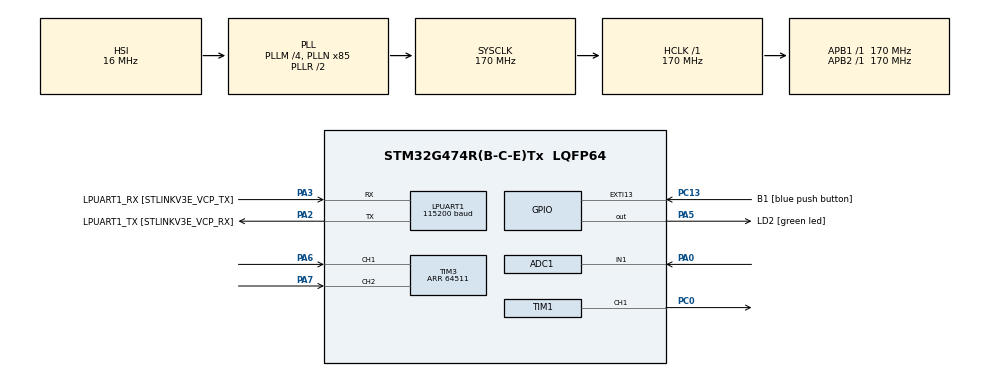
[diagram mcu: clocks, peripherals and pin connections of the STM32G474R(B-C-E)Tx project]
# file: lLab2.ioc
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ADC1.Channel-0\#ChannelRegularConversion=ADC_CHANNEL_1
ADC1.DMAContinuousRequests=ENABLE
ADC1.ExternalTrigConv=ADC_EXTERNALTRIG_T4_TRGO
ADC1.NbrOfConversionFlag=1
ADC1.OffsetNumber-0\#ChannelRegularConversion=ADC_OFFSET_NONE
ADC1.Rank-0\#ChannelRegularConversion=1
ADC1.SamplingTime-0\#ChannelRegularConversion=ADC_SAMPLETIME_2CYCLES_5
ADC1.master=1
ARM.CMSIS-DSP.1.15.0.CMSISJjDSP=Source
ARM.CMSIS.6.0.0.CMSISJjCORE=true
Dma.ADC1.0.Direction=DMA_PERIPH_TO_MEMORY
Dma.ADC1.0.EventEnable=DISABLE
Dma.ADC1.0.Instance=DMA1_Channel1
Dma.ADC1.0.MemDataAlignment=DMA_MDATAALIGN_HALFWORD
Dma.ADC1.0.MemInc=DMA_MINC_ENABLE
Dma.ADC1.0.Mode=DMA_CIRCULAR
Dma.ADC1.0.PeriphDataAlignment=DMA_PDATAALIGN_HALFWORD
Dma.ADC1.0.PeriphInc=DMA_PINC_DISABLE
Dma.ADC1.0.Polarity=HAL_DMAMUX_REQ_GEN_RISING
Dma.ADC1.0.Priority=DMA_PRIORITY_LOW
Dma.ADC1.0.RequestNumber=1
Dma.ADC1.0.SignalID=NONE
Dma.ADC1.0.SyncEnable=DISABLE
Dma.ADC1.0.SyncPolarity=HAL_DMAMUX_SYNC_NO_EVENT
Dma.ADC1.0.SyncRequestNumber=1
Dma.ADC1.0.SyncSignalID=NONE
Dma.Request0=ADC1
LPUART1.BaudRate=115200
LPUART1.WordLength=UART_WORDLENGTH_8B
Mcu.Family=STM32G4
Mcu.Name=STM32G474R(B-C-E)Tx
Mcu.Package=LQFP64
NVIC.ADC1_2_IRQn=true\:0\:0\:false\:false\:true\:true\:true\:true
NVIC.DMA1_Channel1_IRQn=true\:0\:0\:false\:false\:true\:false\:true\:true
NVIC.EXTI15_10_IRQn=true\:0\:0\:false\:false\:true\:true\:true\:true
NVIC.PriorityGroup=NVIC_PRIORITYGROUP_4
NVIC.TIM5_IRQn=true\:0\:0\:false\:false\:true\:true\:true\:true
PA0.Mode=IN1-Single-Ended
PA0.Signal=ADC1_IN1
PA13.GPIO_Label=T_SWDIO
PA13.Mode=Serial_Wire
PA13.Signal=SYS_JTMS-SWDIO
PA14.GPIO_Label=T_SWCLK
PA14.Mode=Serial_Wire
PA14.Signal=SYS_JTCK-SWCLK
PA2.GPIO_Label=LPUART1_TX [STLINKV3E_VCP_RX]
PA2.Mode=Asynchronous
PA2.Signal=LPUART1_TX
PA3.GPIO_Label=LPUART1_RX [STLINKV3E_VCP_TX]
PA3.Mode=Asynchronous
PA3.Signal=LPUART1_RX
PA5.GPIO_Label=LD2 [green led]
PA5.Signal=GPIO_Output
PA6.Signal=S_TIM3_CH1
PA7.Signal=S_TIM3_CH2
PB3.GPIO_Label=T_SWO
PB3.Signal=SYS_JTDO-SWO
PC0.Signal=S_TIM1_CH1
PC13.GPIO_Label=B1 [blue push button]
PC13.Signal=GPXTI13
PC14-OSC32_IN.Mode=LSE-External-Oscillator
PC14-OSC32_IN.Signal=RCC_OSC32_IN
PC15-OSC32_OUT.Mode=LSE-External-Oscillator
PC15-OSC32_OUT.Signal=RCC_OSC32_OUT
PF0-OSC_IN.Mode=HSE-External-Oscillator
PF0-OSC_IN.Signal=RCC_OSC_IN
PF1-OSC_OUT.Mode=HSE-External-Oscillator
PF1-OSC_OUT.Signal=RCC_OSC_OUT
ProjectManager.HeapSize=0x200
ProjectManager.StackSize=0x400
ProjectManager.TargetToolchain=STM32CubeIDE
RCC.ADC12Freq_Value=170000000
RCC.ADC345Freq_Value=170000000
RCC.AHBFreq_Value=170000000
RCC.APB1Freq_Value=170000000
RCC.APB1TimFreq_Value=170000000
RCC.APB2Freq_Value=170000000
RCC.APB2TimFreq_Value=170000000
RCC.CortexFreq_Value=170000000
RCC.EXTERNAL_CLOCK_VALUE=12288000
RCC.HCLKFreq_Value=170000000
RCC.HSE_VALUE=24000000
RCC.HSI48_VALUE=48000000
RCC.HSI_VALUE=16000000
RCC.PLLM=RCC_PLLM_DIV4
RCC.PLLN=85
RCC.RTCClockSelection=RCC_RTCCLKSOURCE_LSE
RCC.SYSCLKFreq_VALUE=170000000
RCC.SYSCLKSource=RCC_SYSCLKSOURCE_PLLCLK
RCC.USBFreq_Value=170000000
RCC.VCOOutputFreq_Value=340000000
SH.S_TIM1_CH1.0=TIM1_CH1,PWM Generation1 CH1
SH.S_TIM3_CH1.0=TIM3_CH1,Encoder_Interface
SH.S_TIM3_CH2.0=TIM3_CH2,Encoder_Interface
TIM1.Channel-PWM\ Generation1\ CH1=TIM_CHANNEL_1
TIM1.PeriodNoDither=199
TIM1.Prescaler=169
TIM1.PulseNoDither_1=3072
TIM3.EncoderMode=TIM_ENCODERMODE_TI12
TIM3.PeriodNoDither=64511
TIM4.PeriodNoDither=99
TIM4.Prescaler=169
TIM4.TIM_MasterOutputTrigger=TIM_TRGO_UPDATE
TIM5.Prescaler=169
VP_ARM.CMSIS-DSP_VS_CMSISJjDSP_1.15.0_1.15.0.Mode=CMSISJjDSP
VP_ARM.CMSIS_VS_CMSISJjCORE_6.0.0_6.0.0.Mode=CMSISJjCORE
VP_SYS_VS_DBSignals.Mode=DisableDeadBatterySignals
VP_TIM1_VS_ClockSourceINT.Mode=Internal
VP_TIM4_VS_ClockSourceINT.Mode=Internal
VP_TIM5_VS_ClockSourceINT.Mode=Internal
board=NUCLEO-G474RE

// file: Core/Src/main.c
/* USER CODE BEGIN Header */
/**
  ******************************************************************************
  * @file           : main.c
  * @brief          : Main program body
  ******************************************************************************
  * @attention
  *
  * Copyright (c) 2025 STMicroelectronics.
  * All rights reserved.
  *
  * This software is licensed under terms that can be found in the LICENSE file
  * in the root directory of this software component.
  * If no LICENSE file comes with this software, it is provided AS-IS.
  *
  ******************************************************************************
  */
/* USER CODE END Header */
#include "main.h"

/* USER CODE BEGIN Includes */
#include "arm_math.h"
/* USER CODE END Includes */

ADC_HandleTypeDef hadc1;
DMA_HandleTypeDef hdma_adc1;

UART_HandleTypeDef hlpuart1;

TIM_HandleTypeDef htim1;
TIM_HandleTypeDef htim3;
TIM_HandleTypeDef htim4;
TIM_HandleTypeDef htim5;

/* USER CODE BEGIN PV */
uint16_t ADCRead[10]={0};
uint16_t ADC;
typedef struct
{
	// for record New / Old value to calculate dx / dt
	uint32_t Position[2];
	uint64_t TimeStamp[2];

	float QEIPostion_1turn;
	float QEIAngularVelocity;
}QEI_StructureTypeDef;
QEI_StructureTypeDef QEIdata = {0};
enum
{
	NEW,OLD
};
uint64_t TimeValue;
uint32_t currentTimerValue;
uint32_t currentOverflowCnt;
uint32_t microsOverflowCnt;
float setpoint = 0;
float position = 0;
arm_pid_instance_f32 PID = {0};
float PWM = 0;
/* USER CODE END PV */

void SystemClock_Config(void);
static void MX_GPIO_Init(void);
static void MX_DMA_Init(void);
static void MX_LPUART1_UART_Init(void);
static void MX_ADC1_Init(void);
static void MX_TIM1_Init(void);
static void MX_TIM3_Init(void);
static void MX_TIM5_Init(void);
static void MX_TIM4_Init(void);
/* USER CODE BEGIN PFP */
uint64_t micros();
void QEIEncoderPosVel_Update();
/* USER CODE END PFP */

int main(void)
{

  /* MCU Configuration--------------------------------------------------------*/

  /* Reset of all peripherals, Initializes the Flash interface and the Systick. */
  HAL_Init();

  /* Configure the system clock */
  SystemClock_Config();

  /* Initialize all configured peripherals */
  MX_GPIO_Init();
  MX_DMA_Init();
  MX_LPUART1_UART_Init();
  MX_ADC1_Init();
  MX_TIM1_Init();
  MX_TIM3_Init();
  MX_TIM5_Init();
  MX_TIM4_Init();
  /* USER CODE BEGIN 2 */
  HAL_ADC_Start_DMA(&hadc1, ADCRead, 10);
  HAL_TIM_Base_Start(&htim4);
  HAL_TIM_Encoder_Start(&htim3,TIM_CHANNEL_ALL);
  HAL_TIM_Base_Start_IT(&htim5);
  HAL_TIM_Base_Start(&htim1);
  HAL_TIM_PWM_Start(&htim1, TIM_CHANNEL_1);

  PID.Kp = 0.1;
  PID.Ki = 0;
  PID.Kd = 5.0;
  arm_pid_init_f32(&PID, 0);
  /* USER CODE END 2 */

  /* Infinite loop */
  while (1)
  {

    /* USER CODE BEGIN 3 */
	  if(HAL_GPIO_ReadPin(B1_GPIO_Port, B1_Pin))
	  {
		  ADC = ADCRead[0];
		  setpoint = (ADC/4095.0)*360.0;
	  }
	  static uint64_t timestamp = 0;
	  int64_t currentTime = micros();
	  if(currentTime > timestamp)
	  {
		  timestamp = currentTime + 1000;
		  QEIEncoderPosVel_Update();
		  position = (QEIdata.QEIPostion_1turn/3072.0)*360.0;
		  PWM = arm_pid_f32(&PID, setpoint - position);
		  __HAL_TIM_SET_COMPARE(&htim1, TIM_CHANNEL_1, PWM*100);
	  }
  }
  /* USER CODE END 3 */
}

void SystemClock_Config(void)
{
  RCC_OscInitTypeDef RCC_OscInitStruct = {0};
  RCC_ClkInitTypeDef RCC_ClkInitStruct = {0};

  /** Configure the main internal regulator output voltage
  */
  HAL_PWREx_ControlVoltageScaling(PWR_REGULATOR_VOLTAGE_SCALE1_BOOST);

  /** Initializes the RCC Oscillators according to the specified parameters
  * in the RCC_OscInitTypeDef structure.
  */
  RCC_OscInitStruct.OscillatorType = RCC_OSCILLATORTYPE_HSI;
  RCC_OscInitStruct.HSIState = RCC_HSI_ON;
  RCC_OscInitStruct.HSICalibrationValue = RCC_HSICALIBRATION_DEFAULT;
  RCC_OscInitStruct.PLL.PLLState = RCC_PLL_ON;
  RCC_OscInitStruct.PLL.PLLSource = RCC_PLLSOURCE_HSI;
  RCC_OscInitStruct.PLL.PLLM = RCC_PLLM_DIV4;
  RCC_OscInitStruct.PLL.PLLN = 85;
  RCC_OscInitStruct.PLL.PLLP = RCC_PLLP_DIV2;
  RCC_OscInitStruct.PLL.PLLQ = RCC_PLLQ_DIV2;
  RCC_OscInitStruct.PLL.PLLR = RCC_PLLR_DIV2;
  if (HAL_RCC_OscConfig(&RCC_OscInitStruct) != HAL_OK)
  {
    Error_Handler();
  }

  /** Initializes the CPU, AHB and APB buses clocks
  */
  RCC_ClkInitStruct.ClockType = RCC_CLOCKTYPE_HCLK|RCC_CLOCKTYPE_SYSCLK
                              |RCC_CLOCKTYPE_PCLK1|RCC_CLOCKTYPE_PCLK2;
  RCC_ClkInitStruct.SYSCLKSource = RCC_SYSCLKSOURCE_PLLCLK;
  RCC_ClkInitStruct.AHBCLKDivider = RCC_SYSCLK_DIV1;
  RCC_ClkInitStruct.APB1CLKDivider = RCC_HCLK_DIV1;
  RCC_ClkInitStruct.APB2CLKDivider = RCC_HCLK_DIV1;

  if (HAL_RCC_ClockConfig(&RCC_ClkInitStruct, FLASH_LATENCY_4) != HAL_OK)
  {
    Error_Handler();
  }
}

static void MX_ADC1_Init(void)
{

  ADC_MultiModeTypeDef multimode = {0};
  ADC_ChannelConfTypeDef sConfig = {0};

  /** Common config
  */
  hadc1.Instance = ADC1;
  hadc1.Init.ClockPrescaler = ADC_CLOCK_SYNC_PCLK_DIV4;
  hadc1.Init.Resolution = ADC_RESOLUTION_12B;
  hadc1.Init.DataAlign = ADC_DATAALIGN_RIGHT;
  hadc1.Init.GainCompensation = 0;
  hadc1.Init.ScanConvMode = ADC_SCAN_DISABLE;
  hadc1.Init.EOCSelection = ADC_EOC_SINGLE_CONV;
  hadc1.Init.LowPowerAutoWait = DISABLE;
  hadc1.Init.ContinuousConvMode = DISABLE;
  hadc1.Init.NbrOfConversion = 1;
  hadc1.Init.DiscontinuousConvMode = DISABLE;
  hadc1.Init.ExternalTrigConv = ADC_EXTERNALTRIG_T4_TRGO;
  hadc1.Init.ExternalTrigConvEdge = ADC_EXTERNALTRIGCONVEDGE_RISING;
  hadc1.Init.DMAContinuousRequests = ENABLE;
  hadc1.Init.Overrun = ADC_OVR_DATA_PRESERVED;
  hadc1.Init.OversamplingMode = DISABLE;
  if (HAL_ADC_Init(&hadc1) != HAL_OK)
  {
    Error_Handler();
  }

  /** Configure the ADC multi-mode
  */
  multimode.Mode = ADC_MODE_INDEPENDENT;
  if (HAL_ADCEx_MultiModeConfigChannel(&hadc1, &multimode) != HAL_OK)
  {
    Error_Handler();
  }

  /** Configure Regular Channel
  */
  sConfig.Channel = ADC_CHANNEL_1;
  sConfig.Rank = ADC_REGULAR_RANK_1;
  sConfig.SamplingTime = ADC_SAMPLETIME_2CYCLES_5;
  sConfig.SingleDiff = ADC_SINGLE_ENDED;
  sConfig.OffsetNumber = ADC_OFFSET_NONE;
  sConfig.Offset = 0;
  if (HAL_ADC_ConfigChannel(&hadc1, &sConfig) != HAL_OK)
  {
    Error_Handler();
  }

}

static void MX_LPUART1_UART_Init(void)
{

  hlpuart1.Instance = LPUART1;
  hlpuart1.Init.BaudRate = 115200;
  hlpuart1.Init.WordLength = UART_WORDLENGTH_8B;
  hlpuart1.Init.StopBits = UART_STOPBITS_1;
  hlpuart1.Init.Parity = UART_PARITY_NONE;
  hlpuart1.Init.Mode = UART_MODE_TX_RX;
  hlpuart1.Init.HwFlowCtl = UART_HWCONTROL_NONE;
  hlpuart1.Init.OneBitSampling = UART_ONE_BIT_SAMPLE_DISABLE;
  hlpuart1.Init.ClockPrescaler = UART_PRESCALER_DIV1;
  hlpuart1.AdvancedInit.AdvFeatureInit = UART_ADVFEATURE_NO_INIT;
  if (HAL_UART_Init(&hlpuart1) != HAL_OK)
  {
    Error_Handler();
  }
  if (HAL_UARTEx_SetTxFifoThreshold(&hlpuart1, UART_TXFIFO_THRESHOLD_1_8) != HAL_OK)
  {
    Error_Handler();
  }
  if (HAL_UARTEx_SetRxFifoThreshold(&hlpuart1, UART_RXFIFO_THRESHOLD_1_8) != HAL_OK)
  {
    Error_Handler();
  }
  if (HAL_UARTEx_DisableFifoMode(&hlpuart1) != HAL_OK)
  {
    Error_Handler();
  }

}

static void MX_TIM1_Init(void)
{

  TIM_ClockConfigTypeDef sClockSourceConfig = {0};
  TIM_MasterConfigTypeDef sMasterConfig = {0};
  TIM_OC_InitTypeDef sConfigOC = {0};
  TIM_BreakDeadTimeConfigTypeDef sBreakDeadTimeConfig = {0};

  htim1.Instance = TIM1;
  htim1.Init.Prescaler = 169;
  htim1.Init.CounterMode = TIM_COUNTERMODE_UP;
  htim1.Init.Period = 199;
  htim1.Init.ClockDivision = TIM_CLOCKDIVISION_DIV1;
  htim1.Init.RepetitionCounter = 0;
  htim1.Init.AutoReloadPreload = TIM_AUTORELOAD_PRELOAD_DISABLE;
  if (HAL_TIM_Base_Init(&htim1) != HAL_OK)
  {
    Error_Handler();
  }
  sClockSourceConfig.ClockSource = TIM_CLOCKSOURCE_INTERNAL;
  if (HAL_TIM_ConfigClockSource(&htim1, &sClockSourceConfig) != HAL_OK)
  {
    Error_Handler();
  }
  if (HAL_TIM_PWM_Init(&htim1) != HAL_OK)
  {
    Error_Handler();
  }
  sMasterConfig.MasterOutputTrigger = TIM_TRGO_RESET;
  sMasterConfig.MasterOutputTrigger2 = TIM_TRGO2_RESET;
  sMasterConfig.MasterSlaveMode = TIM_MASTERSLAVEMODE_DISABLE;
  if (HAL_TIMEx_MasterConfigSynchronization(&htim1, &sMasterConfig) != HAL_OK)
  {
    Error_Handler();
  }
  sConfigOC.OCMode = TIM_OCMODE_PWM1;
  sConfigOC.Pulse = 3072;
  sConfigOC.OCPolarity = TIM_OCPOLARITY_HIGH;
  sConfigOC.OCNPolarity = TIM_OCNPOLARITY_HIGH;
  sConfigOC.OCFastMode = TIM_OCFAST_DISABLE;
  sConfigOC.OCIdleState = TIM_OCIDLESTATE_RESET;
  sConfigOC.OCNIdleState = TIM_OCNIDLESTATE_RESET;
  if (HAL_TIM_PWM_ConfigChannel(&htim1, &sConfigOC, TIM_CHANNEL_1) != HAL_OK)
  {
    Error_Handler();
  }
  sBreakDeadTimeConfig.OffStateRunMode = TIM_OSSR_DISABLE;
  sBreakDeadTimeConfig.OffStateIDLEMode = TIM_OSSI_DISABLE;
  sBreakDeadTimeConfig.LockLevel = TIM_LOCKLEVEL_OFF;
  sBreakDeadTimeConfig.DeadTime = 0;
  sBreakDeadTimeConfig.BreakState = TIM_BREAK_DISABLE;
  sBreakDeadTimeConfig.BreakPolarity = TIM_BREAKPOLARITY_HIGH;
  sBreakDeadTimeConfig.BreakFilter = 0;
  sBreakDeadTimeConfig.BreakAFMode = TIM_BREAK_AFMODE_INPUT;
  sBreakDeadTimeConfig.Break2State = TIM_BREAK2_DISABLE;
  sBreakDeadTimeConfig.Break2Polarity = TIM_BREAK2POLARITY_HIGH;
  sBreakDeadTimeConfig.Break2Filter = 0;
  sBreakDeadTimeConfig.Break2AFMode = TIM_BREAK_AFMODE_INPUT;
  sBreakDeadTimeConfig.AutomaticOutput = TIM_AUTOMATICOUTPUT_DISABLE;
  if (HAL_TIMEx_ConfigBreakDeadTime(&htim1, &sBreakDeadTimeConfig) != HAL_OK)
  {
    Error_Handler();
  }
  HAL_TIM_MspPostInit(&htim1);

}

static void MX_TIM3_Init(void)
{

  TIM_Encoder_InitTypeDef sConfig = {0};
  TIM_MasterConfigTypeDef sMasterConfig = {0};

  htim3.Instance = TIM3;
  htim3.Init.Prescaler = 0;
  htim3.Init.CounterMode = TIM_COUNTERMODE_UP;
  htim3.Init.Period = 64511;
  htim3.Init.ClockDivision = TIM_CLOCKDIVISION_DIV1;
  htim3.Init.AutoReloadPreload = TIM_AUTORELOAD_PRELOAD_DISABLE;
  sConfig.EncoderMode = TIM_ENCODERMODE_TI12;
  sConfig.IC1Polarity = TIM_ICPOLARITY_RISING;
  sConfig.IC1Selection = TIM_ICSELECTION_DIRECTTI;
  sConfig.IC1Prescaler = TIM_ICPSC_DIV1;
  sConfig.IC1Filter = 0;
  sConfig.IC2Polarity = TIM_ICPOLARITY_RISING;
  sConfig.IC2Selection = TIM_ICSELECTION_DIRECTTI;
  sConfig.IC2Prescaler = TIM_ICPSC_DIV1;
  sConfig.IC2Filter = 0;
  if (HAL_TIM_Encoder_Init(&htim3, &sConfig) != HAL_OK)
  {
    Error_Handler();
  }
  sMasterConfig.MasterOutputTrigger = TIM_TRGO_RESET;
  sMasterConfig.MasterSlaveMode = TIM_MASTERSLAVEMODE_DISABLE;
  if (HAL_TIMEx_MasterConfigSynchronization(&htim3, &sMasterConfig) != HAL_OK)
  {
    Error_Handler();
  }

}

static void MX_TIM4_Init(void)
{

  TIM_ClockConfigTypeDef sClockSourceConfig = {0};
  TIM_MasterConfigTypeDef sMasterConfig = {0};

  htim4.Instance = TIM4;
  htim4.Init.Prescaler = 169;
  htim4.Init.CounterMode = TIM_COUNTERMODE_UP;
  htim4.Init.Period = 99;
  htim4.Init.ClockDivision = TIM_CLOCKDIVISION_DIV1;
  htim4.Init.AutoReloadPreload = TIM_AUTORELOAD_PRELOAD_DISABLE;
  if (HAL_TIM_Base_Init(&htim4) != HAL_OK)
  {
    Error_Handler();
  }
  sClockSourceConfig.ClockSource = TIM_CLOCKSOURCE_INTERNAL;
  if (HAL_TIM_ConfigClockSource(&htim4, &sClockSourceConfig) != HAL_OK)
  {
    Error_Handler();
  }
  sMasterConfig.MasterOutputTrigger = TIM_TRGO_UPDATE;
  sMasterConfig.MasterSlaveMode = TIM_MASTERSLAVEMODE_DISABLE;
  if (HAL_TIMEx_MasterConfigSynchronization(&htim4, &sMasterConfig) != HAL_OK)
  {
    Error_Handler();
  }

}

static void MX_TIM5_Init(void)
{

  TIM_ClockConfigTypeDef sClockSourceConfig = {0};
  TIM_MasterConfigTypeDef sMasterConfig = {0};

  htim5.Instance = TIM5;
  htim5.Init.Prescaler = 169;
  htim5.Init.CounterMode = TIM_COUNTERMODE_UP;
  htim5.Init.Period = 4.294967295E9;
  htim5.Init.ClockDivision = TIM_CLOCKDIVISION_DIV1;
  htim5.Init.AutoReloadPreload = TIM_AUTORELOAD_PRELOAD_DISABLE;
  if (HAL_TIM_Base_Init(&htim5) != HAL_OK)
  {
    Error_Handler();
  }
  sClockSourceConfig.ClockSource = TIM_CLOCKSOURCE_INTERNAL;
  if (HAL_TIM_ConfigClockSource(&htim5, &sClockSourceConfig) != HAL_OK)
  {
    Error_Handler();
  }
  sMasterConfig.MasterOutputTrigger = TIM_TRGO_RESET;
  sMasterConfig.MasterSlaveMode = TIM_MASTERSLAVEMODE_DISABLE;
  if (HAL_TIMEx_MasterConfigSynchronization(&htim5, &sMasterConfig) != HAL_OK)
  {
    Error_Handler();
  }

}

static void MX_DMA_Init(void)
{

  /* DMA controller clock enable */
  __HAL_RCC_DMAMUX1_CLK_ENABLE();
  __HAL_RCC_DMA1_CLK_ENABLE();

  /* DMA interrupt init */
  /* DMA1_Channel1_IRQn interrupt configuration */
  HAL_NVIC_SetPriority(DMA1_Channel1_IRQn, 0, 0);
  HAL_NVIC_EnableIRQ(DMA1_Channel1_IRQn);

}

static void MX_GPIO_Init(void)
{
  GPIO_InitTypeDef GPIO_InitStruct = {0};

  /* GPIO Ports Clock Enable */
  __HAL_RCC_GPIOC_CLK_ENABLE();
  __HAL_RCC_GPIOF_CLK_ENABLE();
  __HAL_RCC_GPIOA_CLK_ENABLE();
  __HAL_RCC_GPIOB_CLK_ENABLE();

  /*Configure GPIO pin Output Level */
  HAL_GPIO_WritePin(LD2_GPIO_Port, LD2_Pin, GPIO_PIN_RESET);

  /*Configure GPIO pin : B1_Pin */
  GPIO_InitStruct.Pin = B1_Pin;
  GPIO_InitStruct.Mode = GPIO_MODE_IT_RISING;
  GPIO_InitStruct.Pull = GPIO_NOPULL;
  HAL_GPIO_Init(B1_GPIO_Port, &GPIO_InitStruct);

  /*Configure GPIO pin : LD2_Pin */
  GPIO_InitStruct.Pin = LD2_Pin;
  GPIO_InitStruct.Mode = GPIO_MODE_OUTPUT_PP;
  GPIO_InitStruct.Pull = GPIO_NOPULL;
  GPIO_InitStruct.Speed = GPIO_SPEED_FREQ_LOW;
  HAL_GPIO_Init(LD2_GPIO_Port, &GPIO_InitStruct);

  /* EXTI interrupt init*/
  HAL_NVIC_SetPriority(EXTI15_10_IRQn, 0, 0);
  HAL_NVIC_EnableIRQ(EXTI15_10_IRQn);

}

/* USER CODE BEGIN 4 */
//MicroSecondTimer Implement
void HAL_TIM_PeriodElapsedCallback(TIM_HandleTypeDef *htim)
{
	if(htim == &htim5)
	{
		microsOverflowCnt++;
	}
}
uint64_t micros()
{
	// Disable interrupts temporarily
	__disable_irq();
	//read timer and overflow counter
	currentTimerValue = __HAL_TIM_GET_COUNTER(&htim5);
	currentOverflowCnt = microsOverflowCnt;
	// Check for overflow during the read
	if (__HAL_TIM_GET_FLAG(&htim5, TIM_FLAG_UPDATE))
	{
	currentTimerValue = __HAL_TIM_GET_COUNTER(&htim5);
	currentOverflowCnt++;
	}
	__enable_irq();

	TimeValue = (4294967295*(currentOverflowCnt-1))+currentTimerValue;
	return TimeValue;
}

void QEIEncoderPosVel_Update()
{
	//collect data
	QEIdata.TimeStamp[NEW] = micros();
	QEIdata.Position[NEW] = __HAL_TIM_GET_COUNTER(&htim3);

	//Postion 1 turn calculation
	QEIdata.QEIPostion_1turn = QEIdata.Position[NEW] % 3072;

	//calculate dx
	int32_t diffPosition = QEIdata.Position[NEW] - QEIdata.Position[OLD];

	//Handle Warp around
	if(diffPosition > 32256)
		diffPosition -=64512;
	if(diffPosition < -32256)
		diffPosition +=64512;

	//calculate dt
	float diffTime = (QEIdata.TimeStamp[NEW]-QEIdata.TimeStamp[OLD]) * 0.000001;

	//calculate anglar velocity
	QEIdata.QEIAngularVelocity = diffPosition / diffTime;

	//store value for next loop
	QEIdata.Position[OLD] = QEIdata.Position[NEW];
	QEIdata.TimeStamp[OLD]=QEIdata.TimeStamp[NEW];

}
/* USER CODE END 4 */

void Error_Handler(void)
{
  __disable_irq();
  while (1)
  {
  }
}
